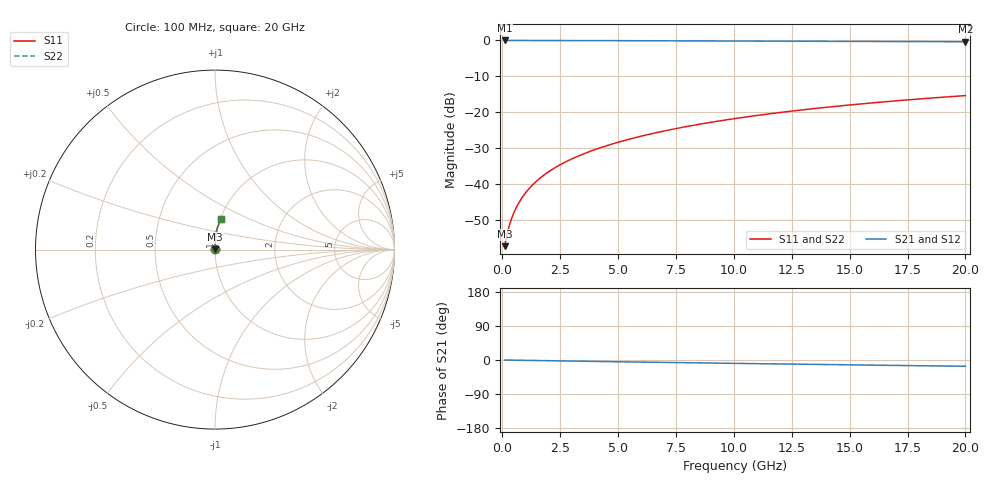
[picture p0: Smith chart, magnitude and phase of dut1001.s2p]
! Touchstone file exported from HFSS 2024.1.0
!  File:  C:/UserFiles/LocalFiles/RDL_TSV_Batchsim/temp_RDL_top_1001_1780042265.aedt
!  Generated:  04:14:20 PM May 29, 2026
!  Design:  RDL_top
!  Project:  temp_RDL_top_1001_1780042265
!  Setup:  Setup1
!  Solution:  Sweep
! Variables:
!  dtsv = 10.80580581um
!  hbump = 3um
!  htsv = 70.02um
!  ldown = 100um
!  lrdl = 221.11um
!  p = 40
!  p1 = 44.94um
!  rhole = 1um
!  t = 450um
!  tdown = 3.915915916um
!  trdl = 3.94um
!  wdown = 15.38538539um
!  wrdl = 21.7um
# GHz S MA R 50.000000
! Terminal data exported
! Port[1] = Box2_T1
! Port[2] = Box2_T2
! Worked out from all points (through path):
!   200 points, 100 MHz to 20 GHz, reference 50 ohm
!   highest |S21| = -0.01 dB at 100 MHz (marker M1); lowest = -0.4 dB at 20 GHz (marker M2)
!   group delay of S21, straight-line fit = 2.29 ps
!   lowest |S11| = -57.2 dB at 100 MHz (marker M3), VSWR 1.00, Z = 50.1 + j0.0824 ohm
!   |S11| at or under -10 dB: start of sweep to end of sweep
!   |S22| runs from -57.2 to -15.3 dB; largest |S21 - S12| = 4.4e-15
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0.1  0.001382 36.5  0.9989 -0.1  0.9989 -0.1  0.001382 36.5
! Gamma 0 0 0 0
! Port Impedance 50 0 50 0
0.2  0.001985 54.0  0.9988 -0.2  0.9988 -0.2  0.001985 54.0
0.3  0.002651 62.6  0.9987 -0.3  0.9987 -0.3  0.002651 62.6
0.4  0.003333 67.9  0.9987 -0.4  0.9987 -0.4  0.003333 67.9
0.5  0.004024 71.5  0.9986 -0.5  0.9986 -0.5  0.004024 71.5
0.6  0.004723 74.2  0.9986 -0.6  0.9986 -0.6  0.004723 74.2
0.8  0.006144 77.8  0.9984 -0.8  0.9984 -0.8  0.006144 77.8
1.1  0.008311 81.1  0.9983 -1.1  0.9983 -1.1  0.008311 81.1
1.5  0.01124 83.7  0.9979 -1.4  0.9979 -1.4  0.01124 83.7
1.8  0.01347 84.9  0.9976 -1.7  0.9976 -1.7  0.01347 84.9
2.1  0.01571 85.8  0.9973 -2.0  0.9973 -2.0  0.01571 85.8
2.7  0.02025 87.1  0.9965 -2.6  0.9965 -2.6  0.02025 87.1
3.5  0.02643 88.1  0.9952 -3.3  0.9952 -3.3  0.02643 88.1
4.2  0.03196 88.6  0.9939 -4.0  0.9939 -4.0  0.03196 88.6
5  0.03843 88.9  0.9922 -4.7  0.9922 -4.7  0.03843 88.9
5.9  0.04588 89.0  0.9902 -5.5  0.9902 -5.5  0.04588 89.0
6.8  0.05351 88.9  0.9882 -6.2  0.9882 -6.2  0.05352 88.9
8.4  0.06743 88.3  0.9844 -7.6  0.9844 -7.6  0.06743 88.3
10.1  0.08256 87.3  0.9804 -9.0  0.9804 -9.0  0.08257 87.3
13.4  0.1123 84.7  0.9729 -11.6  0.9729 -11.6  0.1124 84.7
16.7  0.142 81.8  0.9656 -14.1  0.9656 -14.1  0.142 81.8
20  0.1711 78.8  0.9583 -16.6  0.9583 -16.6  0.1712 78.9
